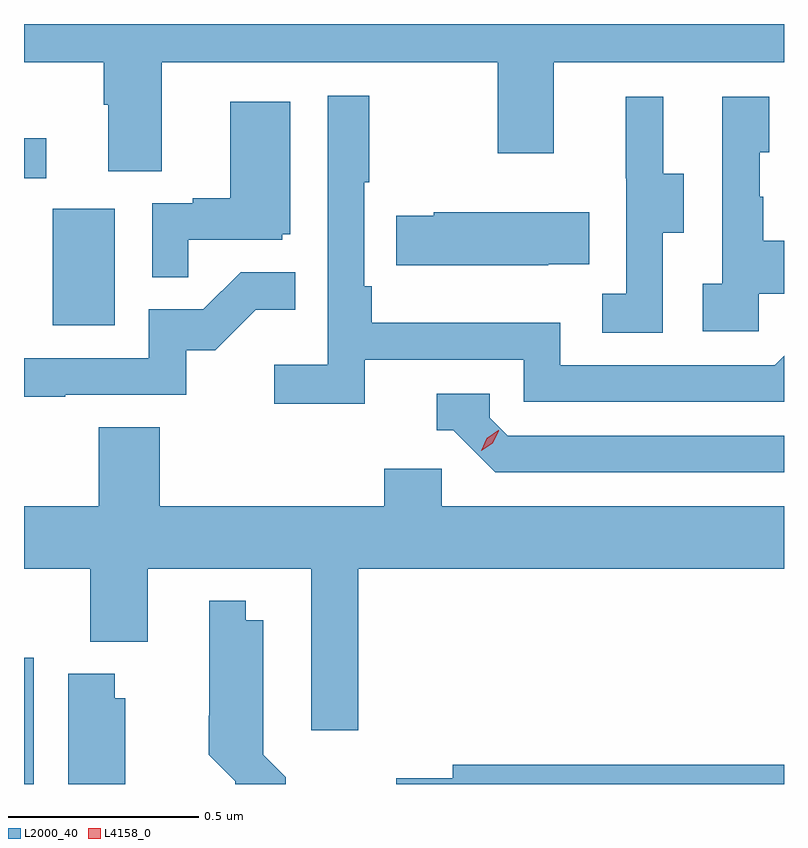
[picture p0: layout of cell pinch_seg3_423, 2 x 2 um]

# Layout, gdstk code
import gdstk
lib = gdstk.Library(unit=1e-6, precision=1e-09)
def R(c, l, rs):  # rectangles x0, y0, x1, y1
    for r in rs: c.add(gdstk.rectangle(r[:2], r[2:], *l))
def P(c, l, *ps):  # polygons
    for p in ps: c.add(gdstk.Polygon(p, *l))
L2000_40 = (2000, 40)
L4158_0 = (4158, 0)

pinch_seg3_423 = lib.new_cell('pinch_seg3_423')
R(pinch_seg3_423, L2000_40, [(932.699,700.349,932.725,700.681), (932.774,701.556,932.938,701.863), (932.699,701.943,932.758,702.049)])
P(pinch_seg3_423, L2000_40, [(933.061,702.248),(933.946,702.248),(933.946,702.009),(934.093,702.009),(934.093,702.248),(934.699,702.248),(934.699,702.349),(932.699,702.349),(932.699,702.248),(932.909,702.248),(932.909,702.136),(932.921,702.136),(932.921,701.962),(933.061,701.962)],
  [(933.596,701.466),(934.014,701.466),(934.014,701.355),(934.699,701.355),(934.699,701.476),(934.674,701.451),(934.11,701.451),(934.11,701.563),(933.614,701.563),(933.614,701.659),(933.594,701.659),(933.594,701.932),(933.607,701.932),(933.607,702.16),(933.498,702.16),(933.498,701.452),(933.357,701.452),(933.357,701.35),(933.596,701.35)],
  [(934.632,701.639),(934.699,701.639),(934.699,701.779),(934.645,701.779),(934.645,701.894),(934.635,701.894),(934.635,702.012),(934.66,702.012),(934.66,702.157),(934.536,702.157),(934.536,701.666),(934.485,701.666),(934.485,701.541),(934.632,701.541)],
  [(934.38,701.8),(934.435,701.8),(934.435,701.955),(934.381,701.955),(934.381,702.157),(934.283,702.157),(934.283,701.943),(934.284,701.943),(934.284,701.639),(934.221,701.639),(934.221,701.536),(934.38,701.536)],
  [(933.131,701.781),(933.378,701.781),(933.378,701.796),(933.4,701.796),(933.4,702.145),(933.242,702.145),(933.242,701.89),(933.143,701.89),(933.143,701.877),(933.036,701.877),(933.036,701.683),(933.131,701.683)],
  [(934.079,701.717),(934.187,701.717),(934.187,701.854),(933.777,701.854),(933.777,701.844),(933.679,701.844),(933.679,701.714),(934.079,701.714)],
  [(932.807,701.373),(933.126,701.373),(933.126,701.49),(933.202,701.49),(933.309,701.597),(933.413,701.597),(933.413,701.696),(933.269,701.696),(933.171,701.598),(933.027,701.598),(933.027,701.469),(932.699,701.469),(932.699,701.368),(932.807,701.368)],
  [(934.699,701.265),(933.972,701.265),(933.924,701.313),(933.924,701.376),(933.785,701.376),(933.785,701.28),(933.828,701.28),(933.939,701.169),(934.699,701.169)],
  [(933.578,700.916),(934.699,700.916),(934.699,701.08),(933.798,701.08),(933.798,701.178),(933.647,701.178),(933.647,701.08),(933.056,701.08),(933.056,701.288),(932.896,701.288),(932.896,701.08),(932.699,701.08),(932.699,700.916),(932.873,700.916),(932.873,700.724),(933.025,700.724),(933.025,700.916),(933.455,700.916),(933.455,700.491),(933.578,700.491)],
  [(933.388,700.367),(933.329,700.426),(933.329,700.525),(933.328,700.525),(933.328,700.78),(933.283,700.78),(933.283,700.831),(933.186,700.831),(933.186,700.528),(933.185,700.528),(933.185,700.426),(933.255,700.356),(933.255,700.349),(933.388,700.349)],
  [(932.965,700.575),(932.938,700.575),(932.938,700.639),(932.816,700.639),(932.816,700.349),(932.965,700.349)],
  [(934.699,700.4),(933.827,700.4),(933.827,700.364),(933.678,700.364),(933.678,700.349),(934.699,700.349)])
P(pinch_seg3_423, L4158_0, [(933.902,701.226),(933.902,701.226),(933.917,701.259),(933.947,701.28),(933.948,701.28),(933.948,701.279),(933.932,701.246),(933.902,701.226)])

lib.write_gds('pinch_seg3_423.gds')
